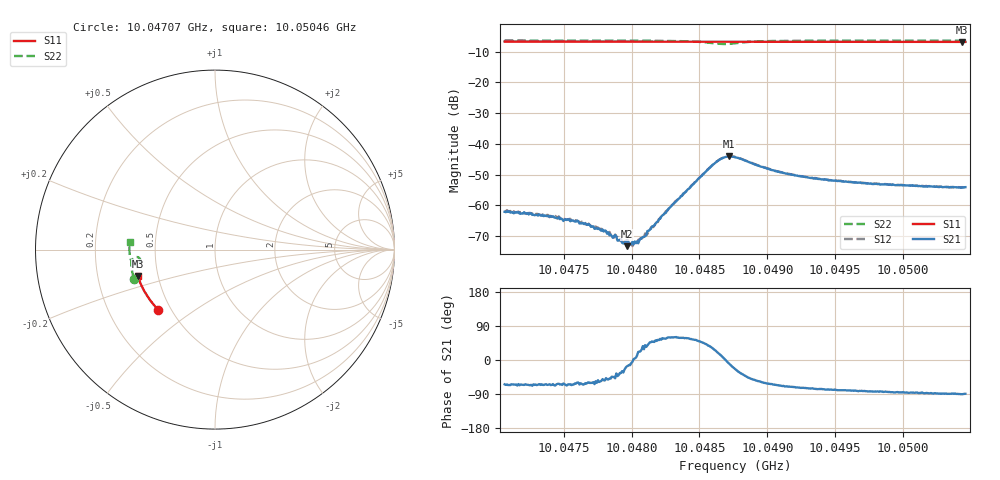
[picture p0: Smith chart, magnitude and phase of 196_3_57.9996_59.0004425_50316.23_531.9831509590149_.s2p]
#  HZ  S  RI  R  50.00
! Rohde & Schwarz Vector Network Analyzer
! Rohde-Schwarz,ZNB20-2Port,1311601062101988,3.16
! Created: UTC 3/21/2024, 12:59:03 AM
! freq[Hz]  re:S11  im:S11  re:S21  im:S21  re:S12  im:S12  re:S22  im:S22
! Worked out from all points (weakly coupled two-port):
!   401 points, 10.04707 GHz to 10.05046 GHz, reference 50 ohm
!   highest |S21| = -44.10 dB at 10.04872 GHz (marker M1); lowest = -73.3 dB at 10.04796 GHz (marker M2)
!   lowest |S11| = -6.9 dB at 10.05043 GHz (marker M3), VSWR 2.67, Z = 19.2 - j7.11 ohm
!   |S11| at or under -10 dB: nowhere
!   |S22| runs from -7.5 to -6.4 dB; largest |S21 - S12| = 0.00041
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1.0047065e10  -0.316 -0.3351  0.00034 -0.000706  0.00039 -0.000711  -0.4506 -0.1637
1.0047405e10  -0.3315 -0.3187  0.000266 -0.000609  0.000346 -0.000579  -0.4573 -0.1411
1.0047634e10  -0.3414 -0.3071  0.000232 -0.000453  0.00028 -0.000463  -0.4612 -0.1253
1.0047795e10  -0.3482 -0.2992  0.000222 -0.000302  0.000261 -0.000293  -0.4636 -0.1134
1.004788e10  -0.3517 -0.2944  0.00022 -0.000245  0.000235 -0.000237  -0.4645 -0.1069
1.0047922e10  -0.3534 -0.2924  0.000232 -0.000158  0.000233 -0.00014  -0.4649 -0.1038
1.0047965e10  -0.3551 -0.2902  0.000207 -6.34e-05  0.000255 -8.64e-05  -0.4655 -0.1003
1.0047982e10  -0.3559 -0.2893  0.000236 -5.53e-05  0.000222 -1.74e-05  -0.4656 -0.099
1.0048024e10  -0.3574 -0.287  0.000257 1.82e-05  0.000235 3.84e-05  -0.4657 -0.0955
1.0048049e10  -0.3586 -0.2857  0.000224 8.7e-05  0.000267 6.36e-05  -0.4659 -0.0935
1.0048092e10  -0.3602 -0.2833  0.000269 0.000146  0.000256 0.000159  -0.4661 -0.0899
1.0048202e10  -0.3645 -0.2775  0.000357 0.000466  0.00032 0.000508  -0.4662 -0.0798
1.0048295e10  -0.3681 -0.2725  0.000492 0.000851  0.000485 0.000877  -0.465 -0.0704
1.0048601e10  -0.3789 -0.2554  0.00398 0.00229  0.00388 0.00254  -0.4316 -0.0418
1.004866e10  -0.3809 -0.2522  0.00561 0.00116  0.00553 0.00146  -0.418 -0.0516
1.004872e10  -0.3828 -0.2491  0.00614 -0.00107  0.00623 -0.000708  -0.4165 -0.0699
1.0048762e10  -0.3842 -0.2469  0.00554 -0.00247  0.00574 -0.00212  -0.4241 -0.0797
1.004905e10  -0.3941 -0.2307  0.00154 -0.00333  0.00174 -0.00324  -0.466 -0.0634
1.004933e10  -0.4028 -0.2142  0.000738 -0.0027  0.000851 -0.00265  -0.4739 -0.0378
1.0049899e10  -0.4182 -0.1801  0.000217 -0.00218  0.000325 -0.00213  -0.4767 0.0053
1.0050433e10  -0.43 -0.1469  -9.54e-06 -0.00193  0.000106 -0.00198  -0.4747 0.0423
1.0050459e10  -0.4305 -0.1455  3e-05 -0.00197  0.000102 -0.00196  -0.4745 0.0439
